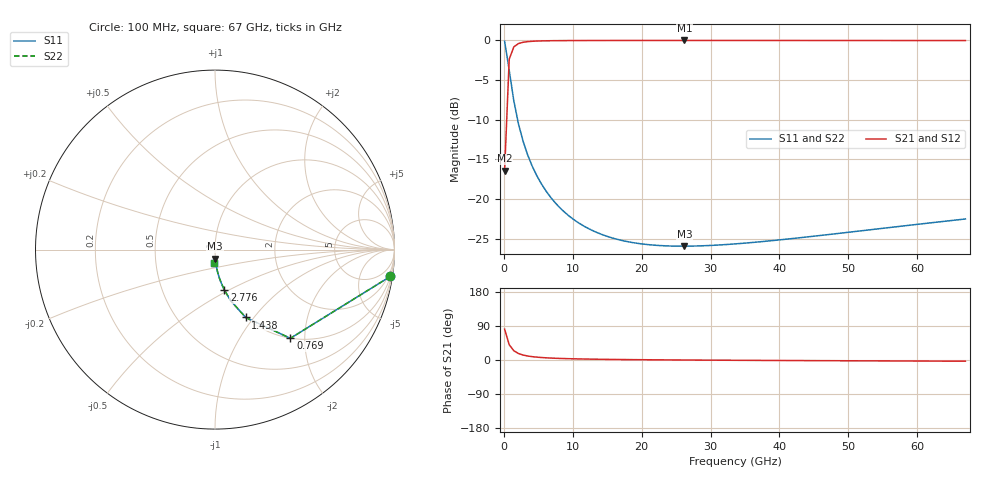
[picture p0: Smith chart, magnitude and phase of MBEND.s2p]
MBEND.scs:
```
simulator lang=local
global 0
ahdl_include "E:\Saves\pycharm\HowToElementBuilder\Code\Files\ver\MBEND.va"
I0 p1 p2 MBEND T = 2e-06 H = 0.0001 ER0 = 1.0 MU0 = 1.0 TD0 = 0.0 ER1 = 12.9 MU1 = 1.0001 TD1 = 0.003 W1 = 7e-05 W2 = 7e-05 NumPorts = 2
PORT1 p1 0 port r=50 num=1 type=sine rptstart=1 rpttimes=0
PORT2 p2 0 port r=50 num=2 type=sine rptstart=1 rpttimes=0
SPSweep sp start=100000000 stop=67000000000 step=669000000.0 file="E:\Saves\pycharm\HowToElementBuilder\Code\Files\symout\MBEND.s2p"
DEFAULT_OPTIONS options tnom=27 temp=27  acout=0 fast_spice=0 reltol=1.000000e-003 rawfmt=nutascii
```
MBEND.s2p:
! Touchstone Ver. 1.0
! Number of ports is 2
# Hz  S RI  R  50
! SCATTERING PARAMETERS  :
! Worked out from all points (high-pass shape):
!   101 points, 100 MHz to 67 GHz, reference 50 ohm
!   highest |S21| = -0.01 dB at 26.19 GHz (marker M1); lowest = -16.4 dB at 100 MHz (marker M2)
!   |S21| within 3 dB of the highest: 738.5 MHz to end of sweep
!   lowest |S11| = -25.9 dB at 26.19 GHz (marker M3), VSWR 1.11, Z = 49.7 - j5.03 ohm
!   |S11| at or under -10 dB: 1.99 GHz to end of sweep
!   |S22| runs from -25.9 to -0.1 dB; largest |S21 - S12| = 0
!   S11 on the Smith chart (normalised r, x): 100 MHz: 1, -13; 769 MHz: 1.00, -1.70; 1.438 GHz: 1.00, -0.91; 2.776 GHz: 1.00, -0.48; 67 GHz: 0.98, -0.15
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1e8  0.9772 -0.1495  0.0228 0.1493  0.0228 0.1493  0.9772 -0.1495
7.69e8  0.4198 -0.4943  0.5802 0.4928  0.5802 0.4928  0.4198 -0.4943
1.438e9  0.1714 -0.3783  0.8286 0.3755  0.8286 0.3755  0.1714 -0.3783
2.776e9  0.0526 -0.2259  0.9474 0.2205  0.9474 0.2205  0.0526 -0.2259
4.114e9  0.0246 -0.1591  0.9753 0.1511  0.9753 0.1511  0.0246 -0.1591
6.121e9  0.0113 -0.1116  0.9887 0.0997  0.9887 0.0997  0.0113 -0.1116
1.0804e10  0.00354 -0.0708  0.9962 0.0498  0.9962 0.0498  0.00354 -0.0708
1.7494e10  0.00111 -0.0544  0.9983 0.0203  0.9983 0.0203  0.00111 -0.0544
2.6191e10  -2.75e-05 -0.0505  0.9987 -0.000544  0.9987 -0.000544  -2.75e-05 -0.0505
3.355e10  -0.000688 -0.0521  0.9986 -0.0132  0.9986 -0.0132  -0.000688 -0.0521
6.7e10  -0.00415 -0.0748  0.9957 -0.0552  0.9957 -0.0552  -0.00415 -0.0748
